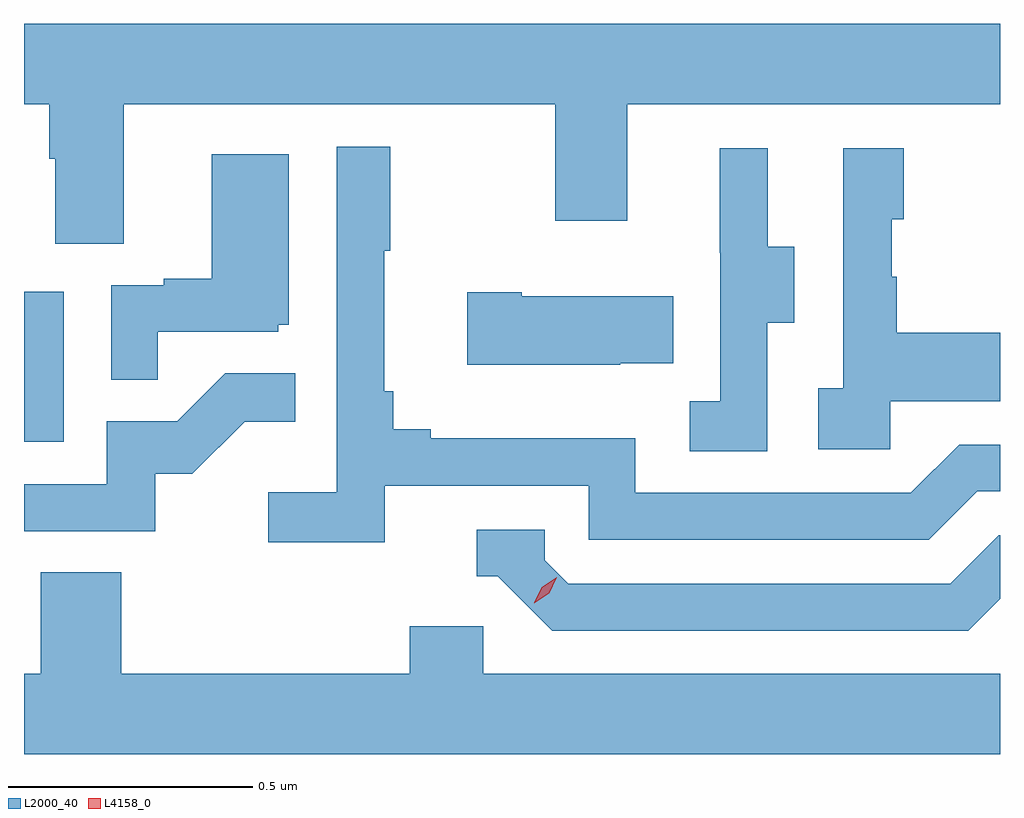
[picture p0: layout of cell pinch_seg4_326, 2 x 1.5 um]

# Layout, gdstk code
import gdstk
lib = gdstk.Library(unit=1e-6, precision=1e-09)
def R(c, l, rs):  # rectangles x0, y0, x1, y1
    for r in rs: c.add(gdstk.rectangle(r[:2], r[2:], *l))
def P(c, l, *ps):  # polygons
    for p in ps: c.add(gdstk.Polygon(p, *l))
L2000_40 = (2000, 40)
L4158_0 = (4158, 0)

pinch_seg4_326 = lib.new_cell('pinch_seg4_326')
R(pinch_seg4_326, L2000_40, [(894.007,805.452,894.088,805.759)])
P(pinch_seg4_326, L2000_40, [(894.211,806.144),(895.096,806.144),(895.096,805.905),(895.243,805.905),(895.243,806.144),(896.007,806.144),(896.007,806.308),(894.007,806.308),(894.007,806.144),(894.059,806.144),(894.059,806.032),(894.071,806.032),(894.071,805.858),(894.211,805.858)],
  [(894.746,805.362),(895.164,805.362),(895.164,805.251),(895.861,805.251),(895.96,805.35),(896.007,805.35),(896.007,805.446),(895.923,805.446),(895.824,805.347),(895.26,805.347),(895.26,805.459),(894.841,805.459),(894.841,805.478),(894.764,805.478),(894.764,805.555),(894.745,805.555),(894.745,805.843),(894.757,805.843),(894.757,806.056),(894.648,806.056),(894.648,805.348),(894.507,805.348),(894.507,805.246),(894.746,805.246)],
  [(895.53,805.696),(895.585,805.696),(895.585,805.851),(895.531,805.851),(895.531,806.053),(895.433,806.053),(895.433,805.839),(895.434,805.839),(895.434,805.535),(895.371,805.535),(895.371,805.432),(895.53,805.432)],
  [(895.782,805.535),(896.007,805.535),(896.007,805.675),(895.795,805.675),(895.795,805.79),(895.785,805.79),(895.785,805.908),(895.81,805.908),(895.81,806.053),(895.686,806.053),(895.686,805.562),(895.635,805.562),(895.635,805.437),(895.782,805.437)],
  [(894.281,805.677),(894.528,805.677),(894.528,805.692),(894.55,805.692),(894.55,806.041),(894.392,806.041),(894.392,805.786),(894.293,805.786),(894.293,805.773),(894.186,805.773),(894.186,805.579),(894.281,805.579)],
  [(895.229,805.613),(895.337,805.613),(895.337,805.75),(895.027,805.75),(895.027,805.758),(894.915,805.758),(894.915,805.61),(895.229,805.61)],
  [(894.276,805.386),(894.352,805.386),(894.459,805.493),(894.563,805.493),(894.563,805.592),(894.419,805.592),(894.321,805.494),(894.177,805.494),(894.177,805.365),(894.007,805.365),(894.007,805.269),(894.276,805.269)],
  [(896.007,805.13),(896.007,805.26),(896.004,805.26),(895.905,805.161),(895.122,805.161),(895.074,805.209),(895.074,805.272),(894.935,805.272),(894.935,805.176),(894.978,805.176),(895.089,805.065),(895.942,805.065)],
  [(896.007,804.976),(894.948,804.976),(894.948,805.074),(894.797,805.074),(894.797,804.976),(894.206,804.976),(894.206,805.184),(894.041,805.184),(894.041,804.976),(894.007,804.976),(894.007,804.812),(896.007,804.812)])
P(pinch_seg4_326, L4158_0, [(895.053,805.121),(895.053,805.122),(895.068,805.154),(895.099,805.174),(895.099,805.174),(895.099,805.174),(895.083,805.141),(895.053,805.121)])

lib.write_gds('pinch_seg4_326.gds')
